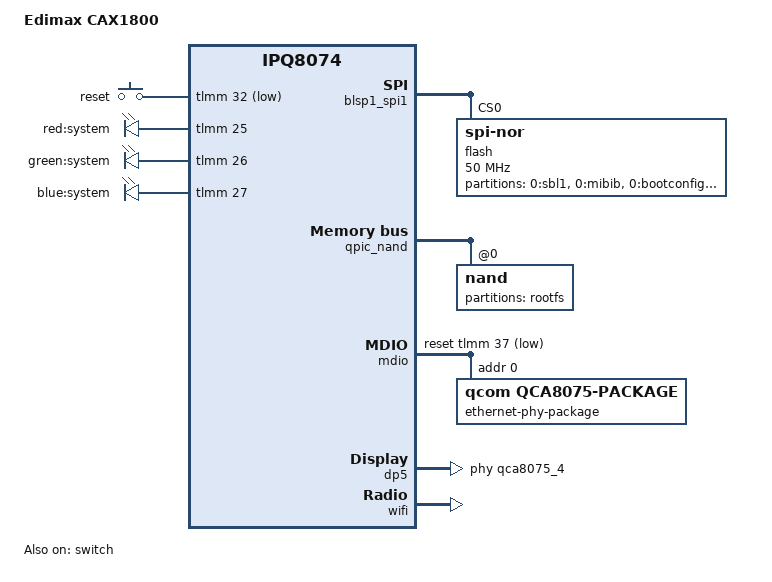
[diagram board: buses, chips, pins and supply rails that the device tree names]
// SPDX-License-Identifier: GPL-2.0-or-later OR MIT

/dts-v1/;

#include "ipq8074.dtsi"
#include "ipq8074-ess.dtsi"
#include "ipq8074-nss.dtsi"
#include "ipq8074-common.dtsi"
#include "ipq8074-ac-cpu.dtsi"

#include <dt-bindings/gpio/gpio.h>
#include <dt-bindings/input/input.h>
#include <dt-bindings/leds/common.h>

/ {
	model = "Edimax CAX1800";
	compatible = "edimax,cax1800", "qcom,ipq8074";

	aliases {
		serial0 = &blsp1_uart5;

		led-boot = &led_system_red;
		led-failsafe = &led_system_red;
		led-running = &led_system_green;
		led-upgrade = &led_system_red;

		ethernet0 = &dp5;

		label-mac-device = &dp5;
	};

	chosen {
		stdout-path = "serial0:115200n8";
		bootargs-append = " root=/dev/ubiblock0_1";
	};

	keys {
		compatible = "gpio-keys";

		reset {
			label = "reset";
			gpios = <&tlmm 32 GPIO_ACTIVE_LOW>;
			linux,code = <KEY_RESTART>;
		};
	};

	leds {
		compatible = "gpio-leds";

		led_system_red: system-red {
			label = "red:system";
			gpios = <&tlmm 25 GPIO_ACTIVE_HIGH>;
		};

		led_system_green: system-green {
			label = "green:system";
			gpios = <&tlmm 26 GPIO_ACTIVE_HIGH>;
		};

		led_system_blue: system-blue {
			label = "blue:system";
			gpios = <&tlmm 27 GPIO_ACTIVE_HIGH>;
		};
	};
};

&blsp1_spi1 {
	status = "okay";

	flash@0 {
		compatible = "jedec,spi-nor";
		spi-max-frequency = <50000000>;
		use-default-sizes;
		reg = <0>;

		partitions {
			compatible = "fixed-partitions";
			#address-cells = <1>;
			#size-cells = <1>;

			partition@0 {
				label = "0:sbl1";
				reg = <0x00000000 0x00050000>;
				read-only;
			};

			partition@50000 {
				label = "0:mibib";
				reg = <0x00050000 0x00010000>;
				read-only;
			};

			partition@60000 {
				label = "0:bootconfig";
				reg = <0x00060000 0x00020000>;
				read-only;
			};

			partition@80000 {
				label = "0:bootconfig1";
				reg = <0x00080000 0x00020000>;
				read-only;
			};

			partition@a0000 {
				label = "0:qsee";
				reg = <0x000a0000 0x00180000>;
				read-only;
			};

			partition@220000 {
				label = "0:qsee_1";
				reg = <0x00220000 0x00180000>;
				read-only;
			};

			partition@3a0000 {
				label = "0:devcfg";
				reg = <0x003a0000 0x00010000>;
				read-only;
			};

			partition@3b0000 {
				label = "0:devcfg_1";
				reg = <0x003b0000 0x00010000>;
				read-only;
			};

			partition@3c0000 {
				label = "0:apdp";
				reg = <0x003c0000 0x00010000>;
				read-only;
			};

			partition@3d0000 {
				label = "0:apdp_1";
				reg = <0x003d0000 0x00010000>;
				read-only;
			};

			partition@3e0000 {
				label = "0:rpm";
				reg = <0x003e0000 0x00040000>;
				read-only;
			};

			partition@420000 {
				label = "0:rpm_1";
				reg = <0x00420000 0x00040000>;
				read-only;
			};

			partition@460000 {
				label = "0:cdt";
				reg = <0x00460000 0x00010000>;
				read-only;
			};

			partition@470000 {
				label = "0:cdt_1";
				reg = <0x00470000 0x00010000>;
				read-only;
			};

			partition@480000 {
				label = "0:appsblenv";
				reg = <0x00480000 0x00010000>;
			};

			partition@490000 {
				label = "0:appsbl";
				reg = <0x00490000 0x000a0000>;
				read-only;
			};

			partition@530000 {
				label = "0:appsbl_1";
				reg = <0x00530000 0x000a0000>;
				read-only;
			};

			partition@5d0000 {
				label = "0:art";
				reg = <0x005d0000 0x00040000>;
				read-only;
			};

			partition@610000 {
				label = "0:ethphyfw";
				reg = <0x00610000 0x00080000>;
				read-only;
			};
		};
	};
};

&qpic_nand {
	status = "okay";

	partitions {
		status = "disabled";
	};

	nand@0 {
		reg = <0>;

		nand-ecc-strength = <4>;
		nand-ecc-step-size = <512>;
		nand-bus-width = <8>;

		partitions {
			compatible = "fixed-partitions";
			#address-cells = <1>;
			#size-cells = <1>;

			partition@0 {
				label = "rootfs";
				reg = <0x0 0x0>;
			};
		};
	};
};

&mdio {
	status = "okay";

	pinctrl-0 = <&mdio_pins>;
	pinctrl-names = "default";
	reset-gpios = <&tlmm 37 GPIO_ACTIVE_LOW>;

	ethernet-phy-package@0 {
		compatible = "qcom,qca8075-package";
		#address-cells = <1>;
		#size-cells = <0>;
		reg = <0>;

		qca8075_4: ethernet-phy@4 {
			compatible = "ethernet-phy-ieee802.3-c22";
			reg = <4>;
		};
	};
};

&switch {
	status = "okay";

	switch_lan_bmp = <ESS_PORT5>;
	switch_mac_mode = <MAC_MODE_PSGMII>;

	qcom,port_phyinfo {
		port@5 {
			port_id = <5>;
			phy_address = <4>;
		};
	};
};

&edma {
	status = "okay";
};

&dp5 {
	status = "okay";
	phy-handle = <&qca8075_4>;
	label = "lan";
};

&wifi {
	status = "okay";
	qcom,ath11k-fw-memory-mode = <1>;
	qcom,ath11k-calibration-variant = "Edimax-CAX1800";
};
